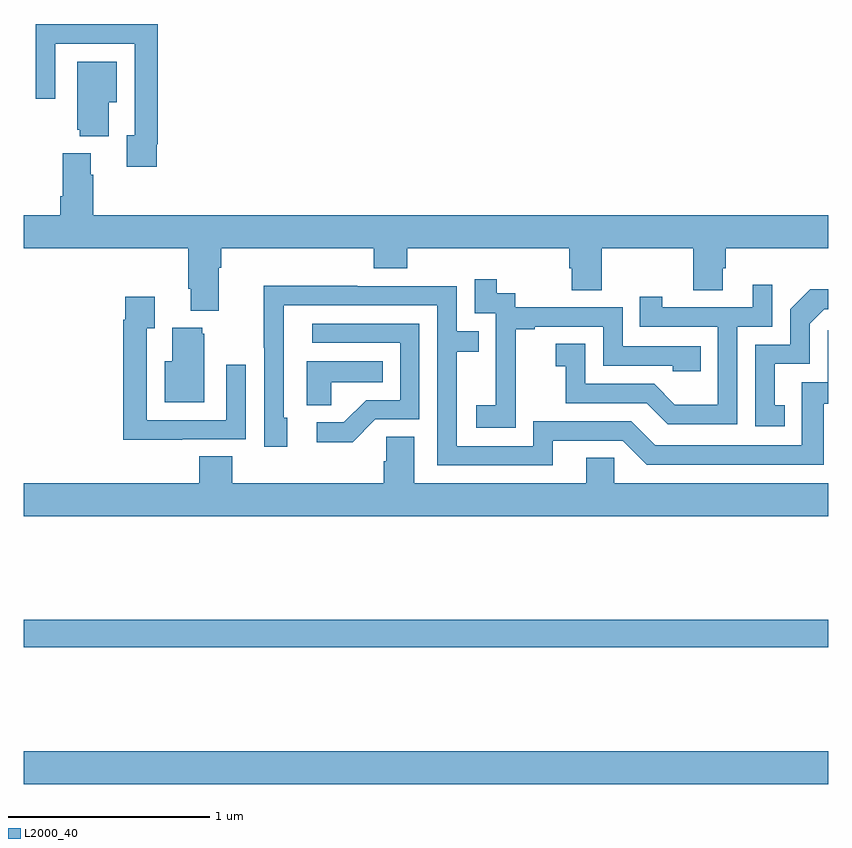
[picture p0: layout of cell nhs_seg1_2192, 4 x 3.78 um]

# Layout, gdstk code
import gdstk
lib = gdstk.Library(unit=1e-6, precision=1e-09)
def R(c, l, rs):  # rectangles x0, y0, x1, y1
    for r in rs: c.add(gdstk.rectangle(r[:2], r[2:], *l))
def P(c, l, *ps):  # polygons
    for p in ps: c.add(gdstk.Polygon(p, *l))
L2000_40 = (2000, 40)

nhs_seg1_2192 = lib.new_cell('nhs_seg1_2192')
R(nhs_seg1_2192, L2000_40, [(229,578.372,233,578.536), (229,579.052,233,579.188)])
P(nhs_seg1_2192, L2000_40, [(229.66,581.554),(229.667,581.554),(229.667,582.152),(229.375,582.152),(229.375,582.15),(229.059,582.15),(229.059,581.781),(229.155,581.781),(229.155,582.054),(229.551,582.054),(229.551,581.598),(229.511,581.598),(229.511,581.442),(229.66,581.442)],
  [(229.423,581.762),(229.462,581.762),(229.462,581.965),(229.265,581.965),(229.265,581.625),(229.277,581.625),(229.277,581.594),(229.423,581.594)],
  [(229.969,580.94),(229.982,580.94),(229.982,581.036),(230.741,581.036),(230.741,580.937),(230.906,580.937),(230.906,581.036),(231.713,581.036),(231.713,580.938),(231.725,580.938),(231.725,580.828),(231.873,580.828),(231.873,581.036),(232.33,581.036),(232.33,580.828),(232.477,580.828),(232.477,580.938),(232.49,580.938),(232.49,581.036),(233,581.036),(233,581.2),(229.346,581.2),(229.346,581.402),(229.333,581.402),(229.333,581.509),(229.193,581.509),(229.193,581.296),(229.181,581.296),(229.181,581.2),(229,581.2),(229,581.036),(229.817,581.036),(229.817,580.834),(229.829,580.834),(229.829,580.727),(229.969,580.727)],
  [(231.447,580.351),(231.446,580.351),(231.446,580.635),(231.541,580.635),(231.541,580.647),(231.882,580.647),(231.882,580.452),(232.227,580.452),(232.227,580.425),(232.367,580.425),(232.367,580.548),(231.978,580.548),(231.978,580.743),(231.444,580.743),(231.444,580.812),(231.352,580.812),(231.352,580.882),(231.243,580.882),(231.243,580.713),(231.348,580.713),(231.348,580.484),(231.347,580.484),(231.347,580.255),(231.249,580.255),(231.249,580.145),(231.447,580.145)],
  [(232.548,580.647),(232.722,580.647),(232.722,580.855),(232.625,580.855),(232.625,580.743),(232.174,580.743),(232.174,580.795),(232.063,580.795),(232.063,580.647),(232.452,580.647),(232.452,580.258),(232.238,580.258),(232.134,580.362),(231.792,580.362),(231.792,580.561),(231.645,580.561),(231.645,580.451),(231.694,580.451),(231.694,580.266),(232.097,580.266),(232.202,580.161),(232.548,580.161)],
  [(231.631,580.08),(231.978,580.08),(232.098,579.96),(232.978,579.96),(232.978,580.263),(233,580.263),(233,580.63),(232.998,580.63),(232.998,580.371),(232.869,580.371),(232.869,580.056),(232.14,580.056),(232.02,580.176),(231.534,580.176),(231.534,580.053),(231.153,580.053),(231.153,580.522),(231.263,580.522),(231.263,580.623),(231.153,580.623),(231.153,580.848),(230.657,580.848),(230.657,580.85),(230.194,580.85),(230.194,580.543),(230.196,580.543),(230.196,580.05),(230.311,580.05),(230.311,580.194),(230.292,580.194),(230.292,580.752),(231.057,580.752),(231.057,579.957),(231.631,579.957)],
  [(232.784,580.257),(232.735,580.257),(232.735,580.461),(232.908,580.461),(232.908,580.662),(232.98,580.734),(233,580.734),(233,580.832),(232.91,580.832),(232.812,580.734),(232.812,580.557),(232.638,580.557),(232.638,580.152),(232.784,580.152)],
  [(229.787,580.086),(230.103,580.086),(230.103,580.456),(230.007,580.456),(230.007,580.182),(229.611,580.182),(229.611,580.639),(229.651,580.639),(229.651,580.795),(229.503,580.795),(229.503,580.682),(229.495,580.682),(229.495,580.085),(229.787,580.085)],
  [(230.748,580.185),(230.967,580.185),(230.967,580.662),(230.433,580.662),(230.433,580.566),(230.871,580.566),(230.871,580.281),(230.702,580.281),(230.591,580.17),(230.457,580.17),(230.457,580.073),(230.635,580.073)],
  [(229.897,580.611),(229.886,580.611),(229.886,580.642),(229.739,580.642),(229.739,580.474),(229.7,580.474),(229.7,580.271),(229.897,580.271)],
  [(230.529,580.37),(230.786,580.37),(230.786,580.474),(230.408,580.474),(230.408,580.255),(230.529,580.255)],
  [(233,579.868),(231.936,579.868),(231.936,579.995),(231.797,579.995),(231.797,579.868),(230.941,579.868),(230.941,580.1),(230.802,580.1),(230.802,579.977),(230.789,579.977),(230.789,579.868),(230.036,579.868),(230.036,580.001),(229.871,580.001),(229.871,579.868),(229,579.868),(229,579.704),(233,579.704)])

lib.write_gds('nhs_seg1_2192.gds')
